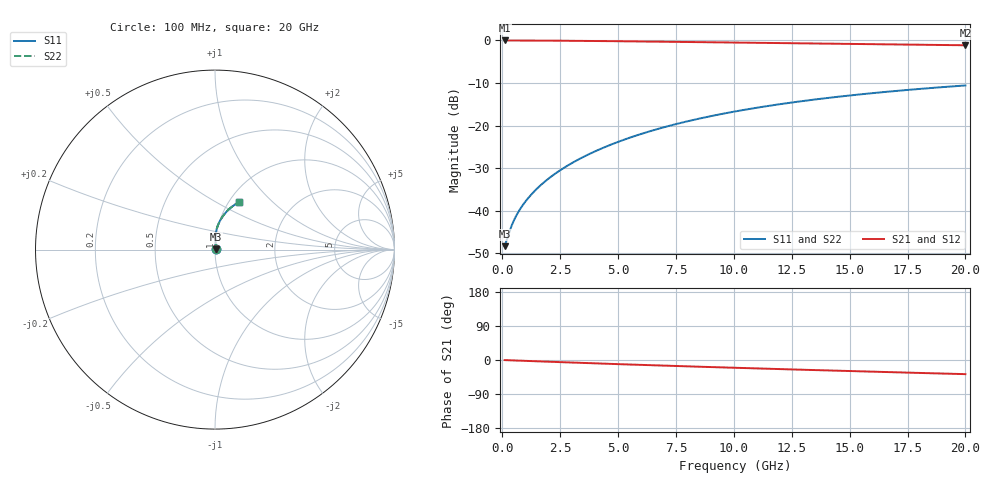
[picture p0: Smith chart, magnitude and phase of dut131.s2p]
! Touchstone file exported from HFSS 2024.1.0
!  File:  C:/UserFiles/LocalFiles/RDL_TSV_Batchsim/temp_RDL_bottom_131_1778696467.aedt
!  Generated:  02:24:01 AM May 14, 2026
!  Design:  RDL_bottom
!  Project:  temp_RDL_bottom_131_1778696467
!  Setup:  Setup1
!  Solution:  Sweep
! Variables:
!  dtsv = 10.80580581um
!  hbump = 3um
!  htsv = 64.48um
!  ldown = 553.26um
!  lrdl = 100um
!  p = 40
!  p1 = 47.2um
!  rhole = 1um
!  t = 450um
!  tdown = 2.23um
!  trdl = 3.915915916um
!  wdown = 27.4um
!  wrdl = 20um
# GHz S MA R 50.000000
! Terminal data exported
! Port[1] = RDL1_T1
! Port[2] = RDL1_T2
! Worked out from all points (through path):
!   200 points, 100 MHz to 20 GHz, reference 50 ohm
!   highest |S21| = -0.03 dB at 100 MHz (marker M1); lowest = -1.2 dB at 20 GHz (marker M2)
!   group delay of S21, straight-line fit = 5.12 ps
!   lowest |S11| = -48.3 dB at 100 MHz (marker M3), VSWR 1.01, Z = 50.4 + j0.142 ohm
!   |S11| at or under -10 dB: start of sweep to end of sweep
!   |S22| runs from -48.3 to -10.6 dB; largest |S21 - S12| = 2e-15
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0.1  0.003844 21.6  0.9964 -0.2  0.9964 -0.2  0.003844 21.6
! Gamma 0 0 0 0
! Port Impedance 50 0 50 0
0.3  0.005614 46.5  0.996 -0.7  0.996 -0.7  0.005614 46.5
0.4  0.006656 52.7  0.9958 -1.0  0.9958 -1.0  0.006656 52.7
0.5  0.007699 57.1  0.9955 -1.2  0.9955 -1.2  0.007699 57.1
0.6  0.008732 60.5  0.9953 -1.4  0.9953 -1.4  0.008732 60.5
0.7  0.009757 63.3  0.995 -1.6  0.995 -1.6  0.009757 63.3
0.9  0.01181 67.7  0.9945 -2.1  0.9945 -2.1  0.01181 67.7
1.2  0.01495 72.7  0.9938 -2.8  0.9938 -2.8  0.01495 72.7
1.7  0.02044 78.2  0.9924 -3.9  0.9924 -3.9  0.02044 78.2
2.2  0.02625 81.8  0.9907 -5.0  0.9907 -5.0  0.02625 81.8
2.8  0.03364 84.6  0.9882 -6.3  0.9882 -6.3  0.03364 84.6
3.5  0.04282 86.6  0.9848 -7.8  0.9848 -7.8  0.04283 86.6
4.2  0.05257 87.7  0.9809 -9.3  0.9809 -9.3  0.05258 87.7
5  0.06432 88.1  0.9761 -10.9  0.9761 -10.9  0.06433 88.1
5.9  0.07819 87.9  0.9703 -12.7  0.9703 -12.7  0.07821 87.9
6.8  0.09257 87.1  0.9642 -14.5  0.9642 -14.5  0.0926 87.1
8.4  0.1189 84.9  0.9531 -17.5  0.9531 -17.5  0.1189 85.0
10.1  0.1471 82.0  0.9413 -20.7  0.9413 -20.7  0.1472 82.0
11.7  0.1734 78.9  0.9303 -23.5  0.9303 -23.5  0.1735 79.0
13.4  0.2006 75.6  0.9187 -26.4  0.9187 -26.4  0.2007 75.7
16.7  0.2504 69.2  0.8966 -32.0  0.8966 -32.0  0.2505 69.3
20  0.2955 63.2  0.8749 -37.3  0.8749 -37.3  0.2957 63.2
